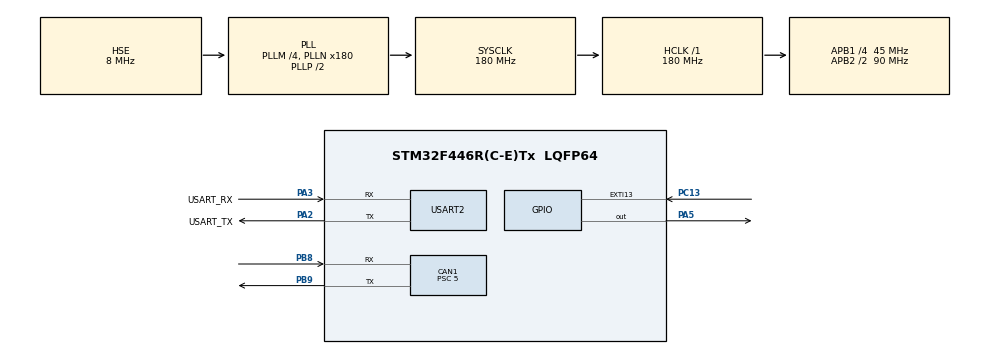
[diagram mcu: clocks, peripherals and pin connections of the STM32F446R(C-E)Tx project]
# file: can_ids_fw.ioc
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CAN1.BS1=CAN_BS1_15TQ
CAN1.BS2=CAN_BS2_2TQ
CAN1.CalculateBaudRate=500000
CAN1.CalculateTimeBit=2000
CAN1.CalculateTimeQuantum=111.11111111111111
CAN1.Prescaler=5
CAN1.SJW=CAN_SJW_1TQ
Mcu.Family=STM32F4
Mcu.Name=STM32F446R(C-E)Tx
Mcu.Package=LQFP64
NUCLEO-F446RE.BUTTON=1
NUCLEO-F446RE.LD1=true
NVIC.CAN1_RX0_IRQn=true\:0\:0\:false\:false\:true\:false\:true\:true
NVIC.EXTI15_10_IRQn=true\:0\:0\:false\:false\:true\:false\:true\:true
NVIC.PriorityGroup=NVIC_PRIORITYGROUP_0
PA13.GPIO_Label=TMS
PA13.Signal=SYS_JTMS-SWDIO
PA14.GPIO_Label=TCK
PA14.Signal=SYS_JTCK-SWCLK
PA2.GPIO_Label=USART_TX
PA2.Mode=Asynchronous
PA2.Signal=USART2_TX
PA3.GPIO_Label=USART_RX
PA3.Mode=Asynchronous
PA3.Signal=USART2_RX
PA5.Signal=GPIO_Output
PB3.GPIO_Label=SWO
PB3.Signal=SYS_JTDO-SWO
PB8.Mode=CAN_Activate
PB8.Signal=CAN1_RX
PB9.Mode=CAN_Activate
PB9.Signal=CAN1_TX
PC13.Signal=GPXTI13
PC14-OSC32_IN.Signal=RCC_OSC32_IN
PC15-OSC32_OUT.Signal=RCC_OSC32_OUT
PH0-OSC_IN.Mode=HSE-External-Clock-Source
PH0-OSC_IN.Signal=RCC_OSC_IN
PH1-OSC_OUT.Mode=HSE-External-Clock-Source
PH1-OSC_OUT.Signal=RCC_OSC_OUT
ProjectManager.HeapSize=0x200
ProjectManager.StackSize=0x400
ProjectManager.TargetToolchain=STM32CubeIDE
RCC.AHBFreq_Value=180000000
RCC.APB1CLKDivider=RCC_HCLK_DIV4
RCC.APB1Freq_Value=45000000
RCC.APB1TimFreq_Value=90000000
RCC.APB2CLKDivider=RCC_HCLK_DIV2
RCC.APB2Freq_Value=90000000
RCC.APB2TimFreq_Value=180000000
RCC.CortexFreq_Value=180000000
RCC.FLatency-AdvancedSettings=FLASH_LATENCY_5
RCC.HCLKFreq_Value=180000000
RCC.HSE_VALUE=8000000
RCC.HSI_VALUE=16000000
RCC.LSE_VALUE=32768
RCC.PLLI2SM=8
RCC.PLLM=4
RCC.PLLN=180
RCC.PLLSAIM=8
RCC.PLLSourceVirtual=RCC_PLLSOURCE_HSE
RCC.SYSCLKFreq_VALUE=180000000
RCC.SYSCLKSource=RCC_SYSCLKSOURCE_PLLCLK
RCC.USBFreq_Value=180000000
RCC.VCOOutputFreq_Value=360000000
USART2.VirtualMode=VM_ASYNC
VP_NUCLEO-F446RE_VS_BSP_COMMON.Mode=COMMON
board=NUCLEO-F446RE

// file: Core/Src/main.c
/* USER CODE BEGIN Header */
/**
  ******************************************************************************
  * @file           : main.c
  * @brief          : Main program body
  ******************************************************************************
  * @attention
  *
  * Copyright (c) 2026 STMicroelectronics.
  * All rights reserved.
  *
  * This software is licensed under terms that can be found in the LICENSE file
  * in the root directory of this software component.
  * If no LICENSE file comes with this software, it is provided AS-IS.
  *
  ******************************************************************************
  */
/* USER CODE END Header */
#include "main.h"

/* USER CODE BEGIN Includes */
#include <stdio.h>
#include <string.h>
#include "ids_detector.h"
#include "ids_selftest_data.h"
#include "ids_security.h"
#include "ids_indicators.h"
#include "ids_secoc.h"
#ifndef IDS_DATASET_NAME            /* headers exported before the CAN-MIRGU version */
#define IDS_DATASET_NAME "ROAD"
#endif

/* USER CODE END Includes */

CAN_HandleTypeDef hcan1;

UART_HandleTypeDef huart2;

/* USER CODE BEGIN PV */
/* ---- Live intrusion detection: every received CAN frame goes through ids_process() ---- */
#define CAN_TEST_TX      0          /* 1 = also send test frame 0x123 every 100 ms (bus bring-up) */
#define UART_BAUD        921600u    /* serial port to the PC (/dev/ttyACM0) */
#define RX_QUEUE_LEN     256u       /* power of two; ~100 ms of traffic at 2,400 frames/s */
#define INCIDENT_GAP_US  1000000u   /* flagged frames less than 1 s apart = one incident */
#define IDLE_RESET_US    1000000u   /* bus silent > 1 s (car off, replay restarted): forget history */
#define INC_MAX_IDS      6u         /* IDs listed per incident (unknown IDs are only counted) */

typedef struct {
  uint32_t t_us;    /* TIM2 at reception, 1 MHz */
  uint16_t id;      /* 11-bit ID; 0xFFF for ROAD's extended 0xFFF; 0xFFFF = other extended ID */
  uint8_t  dlc;     /* 0..8 data bytes */
  uint8_t  data[8];
} can_frame_t;

/* Ring buffer filled by the RX interrupt, emptied by the main loop.
   The interrupt does nothing else (keeps it short). */
static volatile can_frame_t rx_queue[RX_QUEUE_LEN];
static volatile uint32_t rx_head = 0, rx_tail = 0, rx_overflow = 0, rx_count = 0;
#if CAN_TEST_TX
static uint32_t tx_count = 0, tx_fail = 0;
#endif

/* One incident = flagged frames less than 1 s apart (same definition as the evaluation). */
typedef struct { uint16_t id; uint8_t reasons, novel, pair; uint32_t frames; } inc_id_t;
static struct {
  uint8_t  active, level, n_ids;
  uint32_t start_us, last_us, frames, unknown_frames;
  inc_id_t ids[INC_MAX_IDS];
} inc;

/* Statistics over the last second */
static uint32_t st_frames, st_alert, st_warn, st_busy_cyc, st_qmax;
static uint32_t total_incidents;

/* USER CODE END PV */

void SystemClock_Config(void);
static void MX_GPIO_Init(void);
static void MX_USART2_UART_Init(void);
static void MX_CAN1_Init(void);

/* USER CODE BEGIN 0 */
/* printf() goes through _write(): send the text over USART2, which the
   ST-LINK forwards to the PC as /dev/ttyACM0 (115200 baud). */
int _write(int file, char *ptr, int len)
{
  (void)file;
  sec_write(ptr, len);                /* JSON lines get boot / seq / mac (signed with the device secret) */
  return len;
}

/* Detector self-test: run the C detector on real frames (ROAD or CAN-MIRGU) stored in flash
   (ids_selftest_data.h) and compare every answer with what the Python pipeline
   gave for the same frames. Also measures the time per frame with the DWT
   cycle counter (1 cycle = 1/180 MHz = 5.6 ns). */
static void ids_selftest(void)
{
  CoreDebug->DEMCR |= CoreDebug_DEMCR_TRCENA_Msk;     /* enable the cycle counter */
  DWT->CYCCNT = 0;
  DWT->CTRL |= DWT_CTRL_CYCCNTENA_Msk;

  uint32_t bad_score = 0, bad_level = 0, forged = 0, forged_alert = 0, normal_flagged = 0;
  uint32_t n_known = 0, c_min = 0xFFFFFFFFu, c_max = 0;
  uint64_t c_sum = 0;
  ids_result_t r;

  for (uint32_t i = 0; i < IDS_SELFTEST_N; i++) {
    const ids_selftest_frame_t *s = &ids_selftest_frames[i];
    ids_frame_t f = { s->t_us, s->can_id, 8, {0} };
    for (int j = 0; j < 8; j++) f.data[j] = s->data[j];
    if (s->reset) ids_reset();

    uint32_t t0 = DWT->CYCCNT;
    ids_process(&f, &r);
    uint32_t cyc = DWT->CYCCNT - t0;

    if (!(r.reasons & IDS_R_UNKNOWN_ID)) {           /* frames that went through the AI */
      n_known++; c_sum += cyc;
      if (cyc < c_min) c_min = cyc;
      if (cyc > c_max) c_max = cyc;
    }
    const ids_selftest_expect_t *e = &ids_selftest_expect[i];
    if (r.score_q != e->score_q || r.level != e->level) {
      if (bad_score + bad_level < 5)
        printf("  mismatch frame %lu: id=0x%03X score %d (python %d) level %u (python %u)\r\n",
               i, s->can_id, r.score_q, e->score_q, r.level, e->level);
      bad_score += r.score_q != e->score_q;
      bad_level += r.level != e->level;
    }
    uint8_t is_forged = (ids_selftest_forged[i >> 3] >> (i & 7)) & 1u;
    forged += is_forged;
    forged_alert += is_forged && r.level == IDS_ALERT;
    normal_flagged += !is_forged && r.level != IDS_NORMAL;
  }
  ids_reset();

  /* model alone, on the features of the last frame */
  uint32_t m0 = DWT->CYCCNT;
  for (int k = 0; k < 100; k++) (void)ids_model_run(r.features_q);
  uint32_t model_cyc = (DWT->CYCCNT - m0) / 100u;

  uint32_t avg = (uint32_t)(c_sum / (n_known ? n_known : 1));
  uint32_t mhz = HAL_RCC_GetHCLKFreq() / 1000000u;
  printf("\r\n=== Detector self-test: %u real %s frames ===\r\n", (unsigned)IDS_SELFTEST_N, IDS_DATASET_NAME);
  printf("  same model output as Python : %lu / %u\r\n", IDS_SELFTEST_N - bad_score, (unsigned)IDS_SELFTEST_N);
  printf("  same ALERT/WARNING as Python: %lu / %u\r\n", IDS_SELFTEST_N - bad_level, (unsigned)IDS_SELFTEST_N);
  printf("  forged frames at ALERT      : %lu / %lu, normal frames flagged: %lu\r\n",
         forged_alert, forged, normal_flagged);
  printf("  time per frame (rules + features + int8 MLP): avg %lu cycles = %lu.%02lu us, min %lu, max %lu cycles\r\n",
         avg, avg / mhz, (avg % mhz) * 100u / mhz, c_min, c_max);
  printf("  of which int8 MLP alone: %lu cycles = %lu.%02lu us\r\n",
         model_cyc, model_cyc / mhz, (model_cyc % mhz) * 100u / mhz);
  printf("  -> %s\r\n\r\n", (bad_score || bad_level) ? "SELF-TEST FAILED" : "SELF-TEST PASSED (bit-exact)");
}

/* ---------------- live detection: JSON lines on the serial port ---------------- */
static inline uint32_t us_now(void) { return TIM2->CNT; }

static void json_reasons(uint8_t r, char *out)        /* -> ["model","strong"] */
{
  /* bits 0-3: detector; bits 4-6: SecOC authentication (ids_secoc.h) */
  static const char *names[7] = { "unknown_id", "too_fast", "model", "strong",
                                  "auth_mac", "auth_replay", "auth_missing" };
  char *p = out;
  *p++ = '[';
  for (int k = 0; k < 7; k++)
    if (r & (1u << k)) p += sprintf(p, "%s\"%s\"", p[-1] == '[' ? "" : ",", names[k]);
  *p++ = ']'; *p = 0;
}

static void json_bytes(uint8_t m, char *out)          /* bit mask -> [2,5] */
{
  char *p = out;
  *p++ = '[';
  for (int j = 0; j < 8; j++)
    if (m & (1u << j)) p += sprintf(p, "%s%d", p[-1] == '[' ? "" : ",", j);
  *p++ = ']'; *p = 0;
}

static void incident_end(void)
{
  char rs[64], nv[24], pr[24];
  printf("{\"type\":\"incident_end\",\"t_ms\":%lu,\"level\":\"%s\",\"duration_ms\":%lu,\"frames\":%lu,"
         "\"unknown_id_frames\":%lu,\"ids\":[",
         inc.last_us / 1000u, ids_level_name(inc.level), (inc.last_us - inc.start_us) / 1000u,
         inc.frames, inc.unknown_frames);
  for (uint32_t k = 0; k < inc.n_ids; k++) {
    inc_id_t *e = &inc.ids[k];
    json_reasons(e->reasons, rs); json_bytes(e->novel, nv); json_bytes(e->pair, pr);
    printf("%s{\"id\":\"0x%03X\",\"frames\":%lu,\"reasons\":%s,\"novel_bytes\":%s,\"pair_bytes\":%s}",
           k ? "," : "", e->id, e->frames, rs, nv, pr);
  }
  printf("]}\r\n");
  inc.active = 0;
  BSP_LED_Off(LED2);
}

/* A flagged frame: start or extend the incident; report when it starts or escalates. */
static void incident_add(const can_frame_t *c, const ids_result_t *r)
{
  if (inc.active && c->t_us - inc.last_us > INCIDENT_GAP_US) incident_end();
  if (!inc.active) {
    memset(&inc, 0, sizeof inc);
    inc.active = 1;
    inc.start_us = c->t_us;
    total_incidents++;
    BSP_LED_On(LED2);
  }
  inc.last_us = c->t_us;
  inc.frames++;
  if (r->reasons & IDS_R_UNKNOWN_ID) {
    inc.unknown_frames++;
  } else {
    inc_id_t *e = NULL;
    for (uint32_t k = 0; k < inc.n_ids; k++) if (inc.ids[k].id == c->id) e = &inc.ids[k];
    if (!e && inc.n_ids < INC_MAX_IDS) { e = &inc.ids[inc.n_ids++]; e->id = c->id; }
    if (e) { e->frames++; e->reasons |= r->reasons; e->novel |= r->novel_bytes; e->pair |= r->pair_bytes; }
  }
  if (r->level > inc.level) {          /* new incident, or WARNING -> ALERT */
    char rs[64], nv[24], pr[24];
    inc.level = r->level;
    if (r->level == IDS_ALERT) ind_alert();   /* 3 beeps */
    json_reasons(r->reasons, rs); json_bytes(r->novel_bytes, nv); json_bytes(r->pair_bytes, pr);
    printf("{\"type\":\"alert\",\"t_ms\":%lu,\"level\":\"%s\",\"id\":\"0x%03X\",\"reasons\":%s,"
           "\"novel_bytes\":%s,\"pair_bytes\":%s,\"p\":%u}\r\n",
           c->t_us / 1000u, ids_level_name(r->level), c->id, rs, nv, pr,
           (unsigned)(((int)r->score_q + 128) * 100 / 256));
  }
}

/* A failed SecOC check (bad MAC, replay, or a protected frame with no authenticator) is an
   attack on an authenticated ID: raise an ALERT incident on that ID, even when its bytes
   look normal (the case the plain detector misses). */
static void raise_secoc(uint32_t t_us, const secoc_fail_t *sf)
{
  can_frame_t c = { .t_us = t_us, .id = sf->id, .dlc = 8 };
  ids_result_t r = { .level = IDS_ALERT, .reasons = sf->reason, .score_q = -128 };
  st_alert++;
  incident_add(&c, &r);
}

static void process_frame(const can_frame_t *c)
{
  static uint32_t last_t;
  static uint8_t any;
  if (any && c->t_us - last_t > IDLE_RESET_US) {
    if (inc.active) incident_end();
    ids_reset();
    secoc_reset();
    printf("{\"type\":\"info\",\"msg\":\"bus was idle > 1 s: detector history reset\"}\r\n");
  }
  last_t = c->t_us;
  any = 1;

  /* SecOC first: it pairs each protected frame with its authenticator and consumes the
     authenticator frame (not a car signal, so the detector never sees it). */
  secoc_fail_t sf;
  int consumed = secoc_frame(c->id, c->dlc, c->data, c->t_us, &sf);
  if (sf.reason) raise_secoc(c->t_us, &sf);
  if (consumed) { st_frames++; ind_frame(); return; }

  ids_frame_t f = { c->t_us, c->id, c->dlc, {0} };
  memcpy(f.data, c->data, 8);
  ids_result_t r;
  uint32_t t0 = DWT->CYCCNT;
  ids_process(&f, &r);
  st_busy_cyc += DWT->CYCCNT - t0;
  st_frames++;
  ind_frame();
  if (r.level == IDS_ALERT) st_alert++;
  else if (r.level == IDS_WARNING) st_warn++;
  if (r.level != IDS_NORMAL) incident_add(c, &r);
}

/* USER CODE END 0 */

int main(void)
{

  /* USER CODE BEGIN 1 */
  sec_capture_reset_cause();           /* before anything else: why did we (re)start? */

  /* USER CODE END 1 */

  /* MCU Configuration--------------------------------------------------------*/

  /* Reset of all peripherals, Initializes the Flash interface and the Systick. */
  HAL_Init();

  /* Configure the system clock */
  SystemClock_Config();

  /* Initialize all configured peripherals */
  MX_GPIO_Init();
  MX_USART2_UART_Init();
  MX_CAN1_Init();
  /* USER CODE BEGIN 2 */
  /* Faster serial port than CubeMX's 115200: alerts must not slow down reception. */
  huart2.Init.BaudRate = UART_BAUD;
  if (HAL_UART_Init(&huart2) != HAL_OK) Error_Handler();
  sec_uart_rx_start();                /* commands are received by interrupt: no byte lost */
  printf("\r\nCAN IDS firmware booted, core clock %lu Hz, APB1 %lu Hz\r\n",
         HAL_RCC_GetHCLKFreq(), HAL_RCC_GetPCLK1Freq());
  sec_tamper_init();                  /* tamper switch (blue button) guards the device secret */
  sec_report_boot();                  /* reset cause + protection settings (RDP, BOR, WRP) */
  ind_init();                         /* status LEDs + buzzer: 0.3 s wiring check, BEFORE CAN starts
                                         (blocking: frames arriving meanwhile would overflow the queue) */
  ids_selftest();                     /* before CAN starts: nothing arrives during the test */

  /* TIM2 = free-running 32-bit microsecond clock (timer clock = 2 x APB1 = 90 MHz). */
  __HAL_RCC_TIM2_CLK_ENABLE();
  TIM2->PSC = 2u * HAL_RCC_GetPCLK1Freq() / 1000000u - 1u;
  TIM2->ARR = 0xFFFFFFFFu;
  TIM2->EGR = TIM_EGR_UG;             /* load the prescaler now */
  TIM2->CR1 = TIM_CR1_CEN;

  /* Accept every ID: an intrusion detector must see unknown IDs too.
     Filter bank 0, mask 0 = match all, everything goes to RX FIFO 0. */
  CAN_FilterTypeDef filter = {0};
  filter.FilterBank = 0;
  filter.FilterMode = CAN_FILTERMODE_IDMASK;
  filter.FilterScale = CAN_FILTERSCALE_32BIT;
  filter.FilterIdHigh = 0; filter.FilterIdLow = 0;
  filter.FilterMaskIdHigh = 0; filter.FilterMaskIdLow = 0;
  filter.FilterFIFOAssignment = CAN_RX_FIFO0;
  filter.FilterActivation = ENABLE;
  filter.SlaveStartFilterBank = 14;
  if (HAL_CAN_ConfigFilter(&hcan1, &filter) != HAL_OK) Error_Handler();
  /* Automatic bus-off recovery (ABOM): after too many errors the controller
     goes bus-off; with ABOM it rejoins by itself after 128 x 11 recessive bits
     instead of staying off until reset. Must be set while still in init mode. */
  SET_BIT(hcan1.Instance->MCR, CAN_MCR_ABOM);
  /* HAL_CAN_Start waits until the controller sees an idle (recessive) bus on PB8.
     Without the transceiver wired, it never does: report it instead of hanging. */
  if (HAL_CAN_Start(&hcan1) != HAL_OK) {
    printf("ERROR: CAN1 did not start. Is the SN65HVD230 board wired (3V3, GND, PB8=CRX, PB9=CTX)?\r\n");
  }
  if (HAL_CAN_ActivateNotification(&hcan1, CAN_IT_RX_FIFO0_MSG_PENDING) != HAL_OK) Error_Handler();
  printf("{\"type\":\"info\",\"msg\":\"CAN1 started at 500 kbit/s, detector running on every frame\"}\r\n");

/* USER CODE END 2 */

  /* Initialize leds */
  BSP_LED_Init(LED2);

  /* Initialize USER push-button, will be used to trigger an interrupt each time it's pressed.*/
  BSP_PB_Init(BUTTON_USER, BUTTON_MODE_EXTI);

  /* Watchdog last: from here on the main loop must come round every SEC_WATCHDOG_MS,
     or the chip resets (and reports "reset":"watchdog" at the next boot). */
  sec_watchdog_start(SEC_WATCHDOG_MS);

  /* Infinite loop */
  while (1)
  {

    /* USER CODE BEGIN 3 */
    static uint32_t last_tx = 0, last_status = 0;
    uint32_t now = HAL_GetTick();
    sec_watchdog_kick();
    sec_poll_commands();
    sec_tamper_poll();
    ind_poll(inc.active, inc.level);

#if CAN_TEST_TX
    /* every 100 ms: send ID 0x123 = [counter (4 bytes, little endian), CA FE BA BE] */
    if (now - last_tx >= 100u) {
      last_tx = now;
      CAN_TxHeaderTypeDef tx = {0};
      uint8_t d[8] = { (uint8_t)tx_count, (uint8_t)(tx_count >> 8), (uint8_t)(tx_count >> 16),
                       (uint8_t)(tx_count >> 24), 0xCA, 0xFE, 0xBA, 0xBE };
      uint32_t mailbox;
      tx.StdId = 0x123;
      tx.IDE = CAN_ID_STD;
      tx.RTR = CAN_RTR_DATA;
      tx.DLC = 8;
      if (HAL_CAN_GetTxMailboxesFreeLevel(&hcan1) > 0 &&
          HAL_CAN_AddTxMessage(&hcan1, &tx, d, &mailbox) == HAL_OK) tx_count++;
      else tx_fail++;
    }
#else
    (void)last_tx;
#endif

    /* 1) run the detector on every received frame, in order */
    uint32_t depth = rx_head - rx_tail;
    if (depth > st_qmax) st_qmax = depth;
    while (rx_tail != rx_head) {
      can_frame_t f;
      uint32_t i = rx_tail % RX_QUEUE_LEN;
      f.t_us = rx_queue[i].t_us; f.id = rx_queue[i].id; f.dlc = rx_queue[i].dlc;
      for (int k = 0; k < 8; k++) f.data[k] = rx_queue[i].data[k];
      rx_tail++;
      process_frame(&f);
    }

    /* 2) a protected frame whose authenticator never arrived; then close idle incidents */
    secoc_fail_t sf;
    if (secoc_poll(us_now(), &sf)) raise_secoc(us_now(), &sf);
    if (inc.active && us_now() - inc.last_us > INCIDENT_GAP_US) incident_end();

    /* 3) once per second: status. TEC/REC = CAN error counters (should stay 0). */
    if (now - last_status >= 1000u) {
      uint32_t ms = now - last_status;
      last_status = now;
      uint32_t esr = hcan1.Instance->ESR;
      uint32_t cpu10 = (uint32_t)((uint64_t)st_busy_cyc * 1000u / ((uint64_t)HAL_RCC_GetHCLKFreq() * ms / 1000u));
      printf("{\"type\":\"status\",\"t_ms\":%lu,\"fps\":%lu,\"cpu_pct\":%lu.%lu,\"queue_max\":%lu,\"overflow\":%lu,"
             "\"alert_frames\":%lu,\"warning_frames\":%lu,\"incidents\":%lu,\"tec\":%lu,\"rec\":%lu,\"secret\":\"%s\",\"mac_us\":%lu,%s%s}\r\n",
             us_now() / 1000u, st_frames * 1000u / ms, cpu10 / 10u, cpu10 % 10u, st_qmax, rx_overflow,
             st_alert, st_warn, total_incidents, (esr >> 16) & 0xFF, (esr >> 24) & 0xFF,
             sec_secret_state(), sec_last_hmac_cycles() / (HAL_RCC_GetHCLKFreq() / 1000000u),
             secoc_json(), (esr & CAN_ESR_BOFF) ? ",\"bus_off\":true" : "");
      st_frames = st_alert = st_warn = st_busy_cyc = st_qmax = 0;
    }
  }
  /* USER CODE END 3 */
}

void SystemClock_Config(void)
{
  RCC_OscInitTypeDef RCC_OscInitStruct = {0};
  RCC_ClkInitTypeDef RCC_ClkInitStruct = {0};

  /** Configure the main internal regulator output voltage
  */
  __HAL_RCC_PWR_CLK_ENABLE();
  __HAL_PWR_VOLTAGESCALING_CONFIG(PWR_REGULATOR_VOLTAGE_SCALE1);

  /** Initializes the RCC Oscillators according to the specified parameters
  * in the RCC_OscInitTypeDef structure.
  */
  RCC_OscInitStruct.OscillatorType = RCC_OSCILLATORTYPE_HSE;
  RCC_OscInitStruct.HSEState = RCC_HSE_BYPASS;
  RCC_OscInitStruct.PLL.PLLState = RCC_PLL_ON;
  RCC_OscInitStruct.PLL.PLLSource = RCC_PLLSOURCE_HSE;
  RCC_OscInitStruct.PLL.PLLM = 4;
  RCC_OscInitStruct.PLL.PLLN = 180;
  RCC_OscInitStruct.PLL.PLLP = RCC_PLLP_DIV2;
  RCC_OscInitStruct.PLL.PLLQ = 2;
  RCC_OscInitStruct.PLL.PLLR = 2;
  if (HAL_RCC_OscConfig(&RCC_OscInitStruct) != HAL_OK)
  {
    Error_Handler();
  }

  /** Activate the Over-Drive mode
  */
  if (HAL_PWREx_EnableOverDrive() != HAL_OK)
  {
    Error_Handler();
  }

  /** Initializes the CPU, AHB and APB buses clocks
  */
  RCC_ClkInitStruct.ClockType = RCC_CLOCKTYPE_HCLK|RCC_CLOCKTYPE_SYSCLK
                              |RCC_CLOCKTYPE_PCLK1|RCC_CLOCKTYPE_PCLK2;
  RCC_ClkInitStruct.SYSCLKSource = RCC_SYSCLKSOURCE_PLLCLK;
  RCC_ClkInitStruct.AHBCLKDivider = RCC_SYSCLK_DIV1;
  RCC_ClkInitStruct.APB1CLKDivider = RCC_HCLK_DIV4;
  RCC_ClkInitStruct.APB2CLKDivider = RCC_HCLK_DIV2;

  if (HAL_RCC_ClockConfig(&RCC_ClkInitStruct, FLASH_LATENCY_5) != HAL_OK)
  {
    Error_Handler();
  }
}

static void MX_CAN1_Init(void)
{

  hcan1.Instance = CAN1;
  hcan1.Init.Prescaler = 5;
  hcan1.Init.Mode = CAN_MODE_NORMAL;
  hcan1.Init.SyncJumpWidth = CAN_SJW_1TQ;
  hcan1.Init.TimeSeg1 = CAN_BS1_15TQ;
  hcan1.Init.TimeSeg2 = CAN_BS2_2TQ;
  hcan1.Init.TimeTriggeredMode = DISABLE;
  hcan1.Init.AutoBusOff = DISABLE;
  hcan1.Init.AutoWakeUp = DISABLE;
  hcan1.Init.AutoRetransmission = DISABLE;
  hcan1.Init.ReceiveFifoLocked = DISABLE;
  hcan1.Init.TransmitFifoPriority = DISABLE;
  if (HAL_CAN_Init(&hcan1) != HAL_OK)
  {
    Error_Handler();
  }

}

static void MX_USART2_UART_Init(void)
{

  huart2.Instance = USART2;
  huart2.Init.BaudRate = 115200;
  huart2.Init.WordLength = UART_WORDLENGTH_8B;
  huart2.Init.StopBits = UART_STOPBITS_1;
  huart2.Init.Parity = UART_PARITY_NONE;
  huart2.Init.Mode = UART_MODE_TX_RX;
  huart2.Init.HwFlowCtl = UART_HWCONTROL_NONE;
  huart2.Init.OverSampling = UART_OVERSAMPLING_16;
  if (HAL_UART_Init(&huart2) != HAL_OK)
  {
    Error_Handler();
  }

}

static void MX_GPIO_Init(void)
{

  /* GPIO Ports Clock Enable */
  __HAL_RCC_GPIOC_CLK_ENABLE();
  __HAL_RCC_GPIOH_CLK_ENABLE();
  __HAL_RCC_GPIOA_CLK_ENABLE();
  __HAL_RCC_GPIOB_CLK_ENABLE();

}

/* USER CODE BEGIN 4 */
/* Called from the CAN1 RX0 interrupt for each frame in FIFO 0: timestamp it,
   copy it into the ring buffer and return. Detection happens in the main loop. */
void HAL_CAN_RxFifo0MsgPendingCallback(CAN_HandleTypeDef *hcan)
{
  CAN_RxHeaderTypeDef h;
  uint8_t d[8];
  while (HAL_CAN_GetRxFifoFillLevel(hcan, CAN_RX_FIFO0) > 0) {
    uint32_t t = TIM2->CNT;
    if (HAL_CAN_GetRxMessage(hcan, CAN_RX_FIFO0, &h, d) != HAL_OK) break;
    rx_count++;
    if (rx_head - rx_tail >= RX_QUEUE_LEN) { rx_overflow++; continue; }
    uint32_t i = rx_head % RX_QUEUE_LEN;
    /* ROAD's ID 0xFFF does not fit in 11 bits: the replay sends it as an extended
       frame. Any other extended frame is unknown to the whitelist (0xFFFF). */
    if (h.IDE == CAN_ID_STD) rx_queue[i].id = (uint16_t)h.StdId;
    else rx_queue[i].id = (h.ExtId == 0xFFFu) ? 0xFFFu : 0xFFFFu;
    rx_queue[i].dlc = (h.DLC > 8u) ? 8u : (uint8_t)h.DLC;     /* input validation */
    for (uint32_t k = 0; k < 8u; k++) rx_queue[i].data[k] = d[k];
    rx_queue[i].t_us = t;
    rx_head++;
  }
}

/* USER CODE END 4 */

void Error_Handler(void)
{
  __disable_irq();
  while (1)
  {
  }
}
